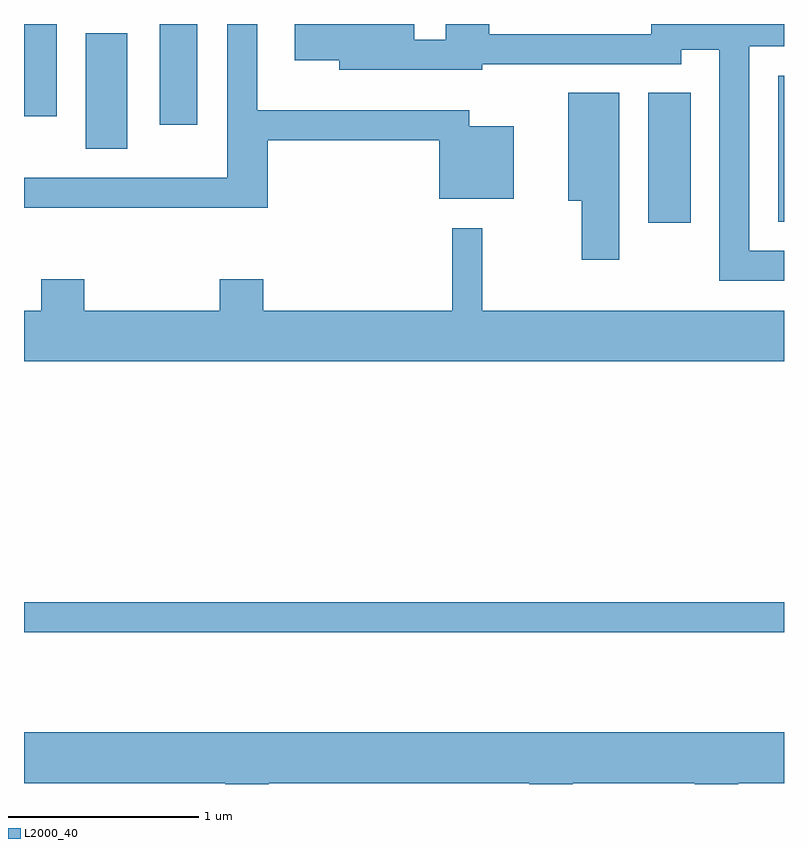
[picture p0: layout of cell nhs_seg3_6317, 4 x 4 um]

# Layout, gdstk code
import gdstk
lib = gdstk.Library(unit=1e-6, precision=1e-09)
def R(c, l, rs):  # rectangles x0, y0, x1, y1
    for r in rs: c.add(gdstk.rectangle(r[:2], r[2:], *l))
def P(c, l, *ps):  # polygons
    for p in ps: c.add(gdstk.Polygon(p, *l))
L2000_40 = (2000, 40)

nhs_seg3_6317 = lib.new_cell('nhs_seg3_6317')
R(nhs_seg3_6317, L2000_40, [(369.611,1246.691,373.611,1246.849), (372.896,1248.846,373.119,1249.529), (373.581,1248.851,373.611,1249.619), (369.936,1249.236,370.154,1249.844), (370.326,1249.361,370.524,1249.892), (369.611,1249.406,369.784,1249.892)])
P(nhs_seg3_6317, L2000_40, [(370.894,1249.281),(371.796,1249.281),(371.796,1248.971),(372.189,1248.971),(372.189,1249.354),(371.954,1249.354),(371.954,1249.439),(370.839,1249.439),(370.839,1249.892),(370.681,1249.892),(370.681,1249.084),(369.611,1249.084),(369.611,1248.926),(370.894,1248.926)],
  [(373.611,1248.699),(373.429,1248.699),(373.429,1249.776),(373.611,1249.776),(373.611,1249.892),(372.911,1249.892),(372.911,1249.839),(372.059,1249.839),(372.059,1249.892),(371.831,1249.892),(371.831,1249.809),(371.664,1249.809),(371.664,1249.892),(371.036,1249.892),(371.036,1249.701),(371.271,1249.701),(371.271,1249.651),(372.024,1249.651),(372.024,1249.681),(373.069,1249.681),(373.069,1249.756),(373.271,1249.756),(373.271,1248.541),(373.611,1248.541)],
  [(372.744,1249.529),(372.476,1249.529),(372.476,1248.961),(372.546,1248.961),(372.546,1248.651),(372.744,1248.651)],
  [(373.611,1248.384),(372.024,1248.384),(372.024,1248.818),(371.866,1248.818),(371.866,1248.384),(370.869,1248.384),(370.869,1248.549),(370.641,1248.549),(370.641,1248.384),(369.929,1248.384),(369.929,1248.549),(369.701,1248.549),(369.701,1248.384),(369.611,1248.384),(369.611,1248.116),(373.611,1248.116)],
  [(370.899,1245.896),(372.271,1245.896),(372.271,1245.892),(372.499,1245.892),(372.499,1245.896),(373.141,1245.896),(373.141,1245.892),(373.369,1245.892),(373.369,1245.896),(373.611,1245.896),(373.611,1246.164),(369.611,1246.164),(369.611,1245.896),(370.671,1245.896),(370.671,1245.892),(370.899,1245.892)])

lib.write_gds('nhs_seg3_6317.gds')
